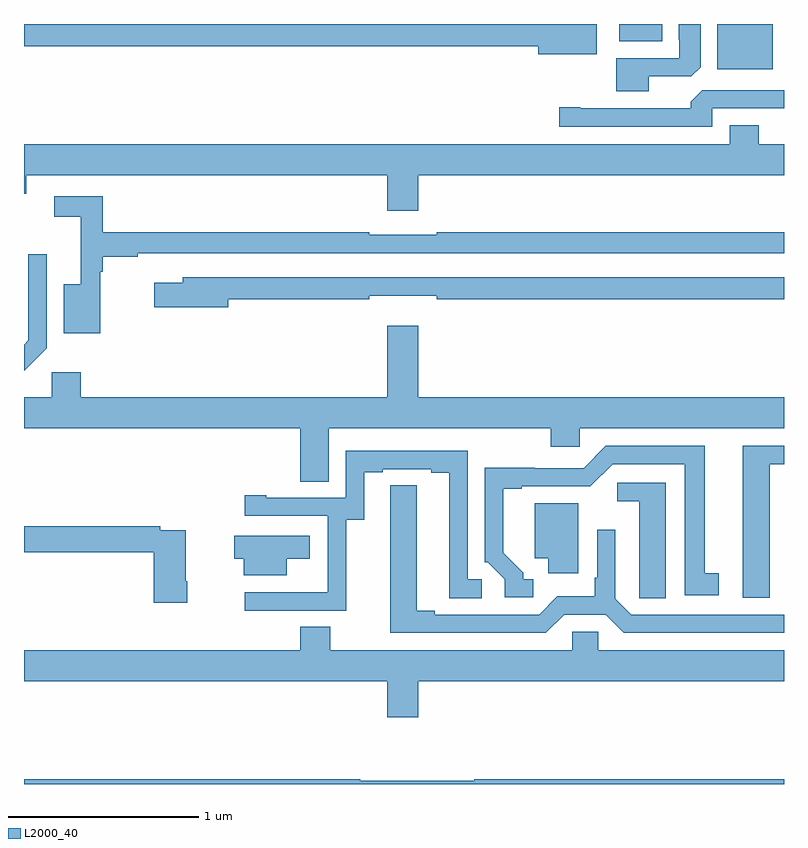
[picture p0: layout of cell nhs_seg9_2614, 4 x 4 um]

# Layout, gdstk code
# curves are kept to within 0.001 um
import gdstk
lib = gdstk.Library(unit=1e-6, precision=1e-09)
def R(c, l, rs):  # rectangles x0, y0, x1, y1
    for r in rs: c.add(gdstk.rectangle(r[:2], r[2:], *l))
def P(c, l, *ps):  # polygons
    for p in ps: c.add(gdstk.Polygon(p, *l))
L2000_40 = (2000, 40)

nhs_seg9_2614 = lib.new_cell('nhs_seg9_2614')
R(nhs_seg9_2614, L2000_40, [(262.649,1246.262,262.942,1246.5), (262.133,1246.409,262.36,1246.5)])
P(nhs_seg9_2614, L2000_40, [(262.015,1246.5),(259,1246.5),(259,1246.384),(261.707,1246.384),(261.707,1246.34),(262.015,1246.34)],
  [(262.288,1246.224),(262.512,1246.224),(262.561,1246.273),(262.561,1246.5),(262.445,1246.5),(262.445,1246.417),(262.449,1246.417),(262.449,1246.32),(262.118,1246.32),(262.118,1246.145),(262.288,1246.145)],
  [(262.623,1246.056),(263,1246.056),(263,1246.152),(262.569,1246.152),(262.508,1246.09),(262.508,1246.056),(261.928,1246.056),(261.928,1246.061),(261.816,1246.061),(261.816,1245.96),(262.623,1245.96)],
  [(261.076,1245.704),(263,1245.704),(263,1245.868),(262.868,1245.868),(262.868,1245.967),(262.715,1245.967),(262.715,1245.868),(259,1245.868),(259,1245.606),(259.012,1245.606),(259.012,1245.704),(260.912,1245.704),(260.912,1245.516),(261.076,1245.516)],
  [(259.4,1245.197),(259.415,1245.197),(259.415,1245.274),(259.598,1245.274),(259.598,1245.294),(263,1245.294),(263,1245.403),(261.172,1245.403),(261.172,1245.39),(260.816,1245.39),(260.816,1245.403),(259.415,1245.403),(259.415,1245.594),(259.158,1245.594),(259.158,1245.486),(259.298,1245.486),(259.298,1245.13),(259.208,1245.13),(259.208,1244.873),(259.4,1244.873)],
  [(259.119,1244.793),(259.119,1245.289),(259.023,1245.289),(259.023,1244.835),(259,1244.812),(259,1244.674)],
  [(260.074,1245.052),(260.816,1245.052),(260.816,1245.071),(261.172,1245.071),(261.172,1245.052),(263,1245.052),(263,1245.168),(259.835,1245.168),(259.835,1245.139),(259.686,1245.139),(259.686,1245.01),(260.074,1245.01)],
  [(260.605,1244.372),(261.773,1244.372),(261.773,1244.274),(261.924,1244.274),(261.924,1244.372),(263,1244.372),(263,1244.536),(261.076,1244.536),(261.076,1244.911),(260.912,1244.911),(260.912,1244.536),(259.298,1244.536),(259.298,1244.668),(259.146,1244.668),(259.146,1244.536),(259,1244.536),(259,1244.372),(260.453,1244.372),(260.453,1244.092),(260.605,1244.092)],
  [(261.679,1243.578),(261.628,1243.578),(261.628,1243.613),(261.523,1243.718),(261.523,1244.055),(261.619,1244.055),(261.619,1244.067),(261.981,1244.067),(262.098,1244.184),(262.478,1244.184),(262.478,1243.494),(262.657,1243.494),(262.657,1243.61),(262.582,1243.61),(262.582,1244.28),(262.062,1244.28),(261.945,1244.163),(261.689,1244.163),(261.689,1244.165),(261.426,1244.165),(261.426,1243.668),(261.441,1243.668),(261.531,1243.578),(261.531,1243.482),(261.679,1243.482)],
  [(262.924,1244.184),(263,1244.184),(263,1244.28),(262.784,1244.28),(262.784,1243.479),(262.924,1243.479)],
  [(260.697,1243.891),(260.791,1243.891),(260.791,1244.142),(260.887,1244.142),(260.887,1244.157),(261.143,1244.157),(261.143,1244.137),(261.239,1244.137),(261.239,1243.477),(261.409,1243.477),(261.409,1243.578),(261.336,1243.578),(261.336,1244.253),(260.694,1244.253),(260.694,1244.007),(260.275,1244.007),(260.275,1244.02),(260.163,1244.02),(260.163,1243.911),(260.598,1243.911),(260.598,1243.51),(260.597,1243.51),(260.597,1243.509),(260.163,1243.509),(260.163,1243.413),(260.697,1243.413)],
  [(262.378,1244.085),(262.122,1244.085),(262.122,1243.988),(262.238,1243.988),(262.238,1243.585),(262.239,1243.585),(262.239,1243.477),(262.378,1243.477)],
  [(261.843,1243.392),(262.061,1243.392),(262.157,1243.296),(263,1243.296),(263,1243.392),(262.197,1243.392),(262.113,1243.476),(262.113,1243.837),(262.017,1243.837),(262.017,1243.585),(262.005,1243.585),(262.005,1243.488),(261.807,1243.488),(261.711,1243.392),(261.163,1243.392),(261.163,1243.412),(261.067,1243.412),(261.067,1244.072),(260.928,1244.072),(260.927,1243.296),(261.747,1243.296)],
  [(261.916,1243.978),(261.689,1243.978),(261.689,1243.688),(261.758,1243.688),(261.758,1243.608),(261.916,1243.608)],
  [(259.86,1243.567),(259.852,1243.567),(259.852,1243.836),(259.718,1243.836),(259.718,1243.856),(259,1243.856),(259,1243.72),(259.682,1243.72),(259.682,1243.455),(259.86,1243.455)],
  [(260.383,1243.685),(260.503,1243.685),(260.503,1243.807),(260.106,1243.807),(260.106,1243.685),(260.156,1243.685),(260.156,1243.598),(260.383,1243.598)],
  [(261.076,1243.04),(263,1243.04),(263,1243.204),(262.023,1243.204),(262.023,1243.302),(261.885,1243.302),(261.885,1243.204),(260.613,1243.204),(260.613,1243.328),(260.453,1243.328),(260.453,1243.204),(259,1243.204),(259,1243.04),(260.912,1243.04),(260.912,1242.852),(261.076,1242.852)],
  [(263,1242.524),(261.37,1242.524),(261.37,1242.517),(260.77,1242.517),(260.77,1242.524),(259,1242.524),(259,1242.5),(263,1242.5)])

lib.write_gds('nhs_seg9_2614.gds')
